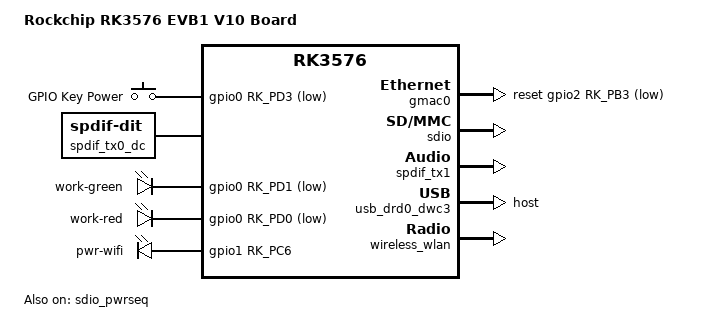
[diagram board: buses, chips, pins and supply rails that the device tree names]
// SPDX-License-Identifier: (GPL-2.0+ OR MIT)
/*
 * Copyright (c) 2024 Rockchip Electronics Co., Ltd.
 *
 * H96 Max M9 / M9S (RK3576 Android TV boxes).
 *
 * The two boards are electrically identical: their stock device trees
 * differ only in the IR remote key tables, which the board dts files
 * supply.  Everything else lives here.
 *
 * Derived from rk3576-evb1-v10.dts by diffing the stock device trees
 * shipped in the H96 Max M9 and M9S firmware against rk3576-evb1-v10.dtb
 * as built from this tree.  Stock keeps the EVB model/compatible strings,
 * so they are left alone here -- the Rockchip Android HALs match on them.
 */

#include "rk3576.dtsi"
#include "rk3576-evb1.dtsi"
#include "rk3576-evb1-cam-dcphy0.dtsi"
#include "rk3576-android.dtsi"

/ {
	model = "Rockchip RK3576 EVB1 V10 Board";
	compatible = "rockchip,rk3576-evb1-v10", "rockchip,rk3576";

	gpio_keys: gpio-keys {
		compatible = "gpio-keys";
		autorepeat;

		power {
			debounce-interval = <100>;
			gpios = <&gpio0 RK_PD3 GPIO_ACTIVE_LOW>;
			label = "GPIO Key Power";
			linux,code = <KEY_POWER>;
			wakeup-source;
		};
	};

	/*
	 * The board has no ES8388 populated.  Stock disables the real
	 * es8388-sound card (see below) and exposes a dummy codec on SAI1
	 * instead, while spoofing the card name so that the Rockchip audio
	 * HAL still finds "rockchip,es8388".  Audio is routed out over HDMI
	 * and SPDIF.
	 */
	ht5010_sound: ht5010-sound {
		status = "okay";
		compatible = "simple-audio-card";
		simple-audio-card,name = "rockchip,es8388";
		simple-audio-card,format = "i2s";
		simple-audio-card,mclk-fs = <256>;

		simple-audio-card,cpu {
			sound-dai = <&sai1>;
		};

		simple-audio-card,codec {
			sound-dai = <&ht5010_sound_out>;
		};
	};

	ht5010_sound_out: ht5010_sound-out {
		status = "okay";
		compatible = "rockchip,dummy-codec";
		clocks = <&mclkout_sai1>;
		clock-names = "mclk";
		pinctrl-names = "default";
		pinctrl-0 = <&sai1m0_mclk>;
		#sound-dai-cells = <0>;
	};

	spdif_tx0_dc: spdif-tx0-dc {
		status = "okay";
		compatible = "linux,spdif-dit";
		#sound-dai-cells = <0>;
	};

	spdif_tx0_sound: spdif-tx0-sound {
		status = "okay";
		compatible = "simple-audio-card";
		simple-audio-card,mclk-fs = <128>;
		simple-audio-card,name = "rockchip,spdif-tx1";

		simple-audio-card,cpu {
			sound-dai = <&spdif_tx1>;
		};

		simple-audio-card,codec {
			sound-dai = <&spdif_tx0_dc>;
		};
	};
};

/*
 * No USB Type-C on this board: the HUSB311 PD controller, its connector
 * graph and the 5V Type-C VBUS regulator are all absent.  usb_drd0 is a
 * plain host port (see &usb_drd0_dwc3 below) and the USBDP PHY is wired
 * for DP only.
 */
/delete-node/ &usbc0;
/delete-node/ &vbus5v0_typec;

&backlight {
	status = "disabled";
};

&dp {
	status = "disabled";
};

&dp0 {
	status = "disabled";
};

&dp0_in_vp2 {
	status = "disabled";
};

&dp0_sound {
	status = "disabled";
};

&dsi {
	status = "disabled";
};

&dsi_in_vp1 {
	status = "disabled";
};

&dsi_panel {
	status = "disabled";
};

/* Real ES8388 card, replaced by ht5010-sound above. */
&es8388 {
	/delete-property/ assigned-clock-rates;
	/delete-property/ assigned-clocks;
	/delete-property/ clock-names;
	/delete-property/ clocks;
	/delete-property/ pinctrl-0;
	/delete-property/ pinctrl-names;
	status = "disabled";
};

&es8388_sound {
	status = "disabled";
};

&gmac0 {
	snps,reset-gpio = <&gpio2 RK_PB3 GPIO_ACTIVE_LOW>;
	tx_delay = <0x1b>;
};

&gmac1 {
	status = "disabled";
};

&gt1x {
	/delete-property/ power-supply;
	status = "disabled";
};

&hdmi {
	cec-enable;
};

/* i2c0 only carried the EVB touch panel, i2c3 only the ES8388. */
&i2c0 {
	status = "disabled";
};

&i2c3 {
	status = "disabled";
};

&leds {
	/delete-node/ work;

	work-green {
		gpios = <&gpio0 RK_PD1 GPIO_ACTIVE_LOW>;
		linux,default-trigger = "none";
		default-state = "on";
		retain-state-suspended;
		retain-state-shutdown;
	};

	work-red {
		gpios = <&gpio0 RK_PD0 GPIO_ACTIVE_LOW>;
		linux,default-trigger = "none";
		default-state = "off";
		retain-state-suspended;
		retain-state-shutdown;
	};

	/*
	 * Not an LED: this is the WiFi module power enable, which stock
	 * drives permanently on from here instead of from wireless-wlan
	 * (see the deleted WIFI,poweren_gpio below).
	 */
	pwr-wifi {
		gpios = <&gpio1 RK_PC6 GPIO_ACTIVE_HIGH>;
		linux,default-trigger = "none";
		default-state = "on";
	};
};

&pcie0 {
	status = "disabled";
};

&route_hdmi {
	/delete-property/ logo,kernel;
	logo,mode = "fullscreen";
};

&route_dsi {
	status = "disabled";
};

&rockchip_suspend {
	rockchip,sleep-mode-config = <
		(0
		| RKPM_SLP_ARMOFF_LOGOFF
		)
	>;
	rockchip,wakeup-config = <
		(0
		| RKPM_GPIO_WKUP_EN
		| RKPM_PWM_WKUP_EN	/* IR remote, see &pwm0_2ch_0 */
		)
	>;
	rockchip,virtual-poweroff = <1>;
	rockchip,virtual-poweroff-irqs = <132>;
};

&sdio {
	/delete-property/ rockchip,use-v2-tuning;
	post-power-on-delay-ms = <50>;
	supports-sdio;
	status = "okay";
};

&sdio_pwrseq {
	reset-gpios = <&gpio0 RK_PD2 GPIO_ACTIVE_LOW>;
	status = "okay";
};

&sdmmc {
	supports-sd;
};

/*
 * SPDIF is on spdif_tx1 (coax/optical out), not on the EVB's spdif_tx3.
 *
 * The pinmux override is load-bearing and was missing.  rk3576.dtsi defaults
 * spdif_tx1 to spdifm0_tx1, whose pin is gpio3-13 -- which this board's
 * ethernet already owns -- so the controller never probes:
 *
 *   rockchip-pinctrl: pin gpio3-13 already requested by 2a220000.ethernet;
 *                     cannot claim for 2a680000.spdif-tx
 *   rockchip-spdif 2a680000.spdif-tx: Error applying setting, reverse things back
 *   platform spdif-tx0-sound: deferred probe pending
 *
 * and the "rockchipspdiftx" ALSA card never appears.  Stock's dtb uses
 * spdifm1_tx1 here.  Found by resolving the pinctrl-0 phandles in both dtbs,
 * not by reading either device tree source -- the phandle numbers differ
 * between builds, so the node has to be looked up to compare.
 */
&spdif_tx1 {
	pinctrl-names = "default";
	pinctrl-0 = <&spdifm1_tx1>;
	status = "okay";
};

&spdif_tx3 {
	status = "disabled";
};

&threshold {
	temperature = <80000>;
};

&target {
	temperature = <100000>;
};

&u2phy0_otg {
	/delete-property/ rockchip,typec-vbus-det;
};

&ufs {
	status = "disabled";
};

&usbdp_phy {
	/delete-property/ orientation-switch;
	/delete-property/ sbu1-dc-gpios;
	/delete-property/ sbu2-dc-gpios;
	/delete-property/ svid;
	rockchip,dp-lane-mux = <2 3>;

	/delete-node/ port;
};

&usb_drd0_dwc3 {
	/delete-property/ usb-role-switch;
	dr_mode = "host";
	extcon = <&u2phy0>;

	/delete-node/ port;
};

&vcca_1v8_s0 {
	regulator-state-mem {
		/delete-property/ regulator-off-in-suspend;
		regulator-on-in-suspend;
	};
};

&vop {
	/delete-property/ vop-supply;
};

&wireless_wlan {
	/* moved to the pwr-wifi "LED", see &leds above */
	/delete-property/ WIFI,poweren_gpio;
};
/*
 * Both boards use a Rockchip remote decoder with several usercodes
 * programmed in.  ir_key3 comes from rk3576-evb-input-keymap.dtsi
 * unchanged; ir_key4 and ir_key5 are added here because both boards ship
 * them identically.  The tables that actually differ between the M9 and
 * the M9S live in the board dts files.
 */
&pwm0_2ch_0 {
	ir_key4 {
		rockchip,usercode = <0x7f80>;
		rockchip,key_table =
			<0xec	KEY_REPLY>,
			<0xd8	KEY_BACK>,
			<0xc7	KEY_UP>,
			<0xbf	KEY_DOWN>,
			<0xc8	KEY_LEFT>,
			<0xc6	KEY_RIGHT>,
			<0x8c	KEY_HOME>,
			<0x78	KEY_VOLUMEUP>,
			<0x76	KEY_VOLUMEDOWN>,
			<0x7e	KEY_POWER>,
			<0x7c	KEY_MENU>,
			<0xb7	KEY_TEXT>;
	};

	ir_key5 {
		rockchip,usercode = <0xfe01>;
		rockchip,key_table =
			<0xec	KEY_REPLY>,
			<0xe6	KEY_BACK>,
			<0xe9	KEY_UP>,
			<0xe5	KEY_DOWN>,
			<0xae	KEY_LEFT>,
			<0xaf	KEY_RIGHT>,
			<0xee	KEY_HOME>,
			<0xe7	KEY_VOLUMEUP>,
			<0xef	KEY_VOLUMEDOWN>,
			<0xbf	KEY_POWER>,
			<0xbe	KEY_MUTE>,
			<0xb3	KEY_MENU>,
			<0xff	KEY_TEXT>,
			<0xb1	KEY_1>,
			<0xf2	KEY_2>,
			<0xf3	KEY_3>,
			<0xb5	KEY_4>,
			<0xf6	KEY_5>,
			<0xf7	KEY_6>,
			<0xb9	KEY_7>,
			<0xfa	KEY_8>,
			<0xfb	KEY_9>,
			<0xfe	KEY_0>,
			<0xbd	KEY_BACKSPACE>,
			<0xbc	KEY_F13>,
			<0xf0	KEY_F16>,
			<0xb4	KEY_PREVIOUS>,
			<0xb8	KEY_A>,
			<0xb0	KEY_NEXT>;
	};
};
